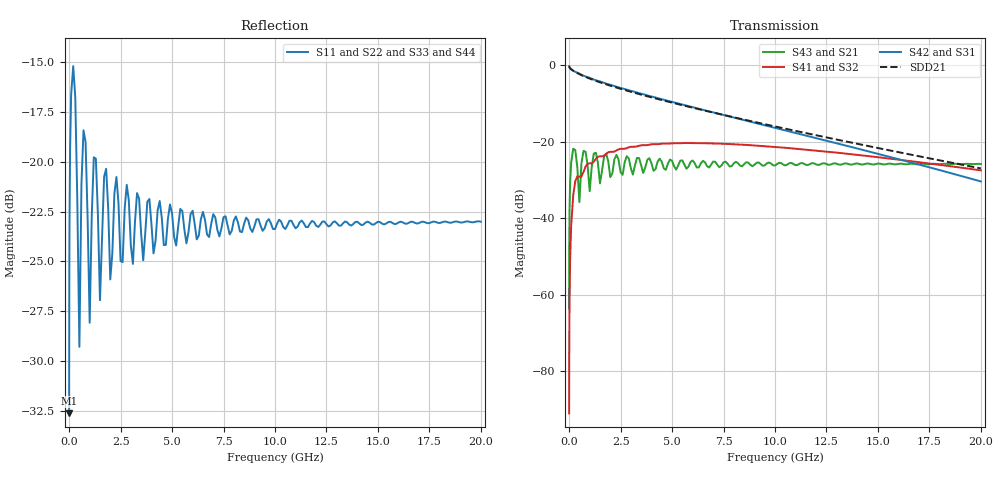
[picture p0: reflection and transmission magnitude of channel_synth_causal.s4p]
! Synthetic Process-Independent Passive Causal 4-Port Differential Channel
! Analytically generated from closed-form RLGC + sqrt(j*f) skin effect +
! Kramers-Kronig causal Djordjevic-Sarkar dielectric dispersion (L = 0.15 m,
! Z_diff = 100 ohm, Port 1/2 = INP/INN, Port 3/4 = OUTP/OUTN).
! Zero proprietary/vendor IP; verified passive (sigma_max <= 1.0) at all freqs.
# GHZ S RI R 50
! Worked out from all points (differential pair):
!   206 points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, 1 MHz to 20 GHz, reference 50 ohm
!   strongest paths, dB at 1 MHz, 4.6 GHz, 9.8 GHz, 14.9 GHz, 20 GHz:
!     S42: -0.2, -9.0, -16.0, -23.0, -30.3
!     S31: -0.2, -9.0, -16.0, -23.0, -30.3
!     S41: -91.0, -20.4, -21.2, -23.9, -27.4
!     S32: -91.0, -20.4, -21.2, -23.9, -27.4
!     S43: -63.6, -26.9, -25.6, -25.8, -25.8
!     S21: -63.6, -26.9, -25.6, -25.8, -25.8
!   taken as a pair (ports 2,1 in; 4,3 out), SDD21 dB: -0.2, -9.2, -15.7, -21.5, -26.9
!   lowest |S11| = -32.6 dB at 1 MHz (marker M1), VSWR 1.05, Z = 52.2 + j0.991 ohm
!   |S11| at or under -10 dB: start of sweep to end of sweep
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0.001  0.0214 0.00949  1.88e-05 0.00066  0.9785 -0.0157  2.6e-06 2.81e-05
       1.88e-05 0.00066  0.0214 0.00949  2.6e-06 2.81e-05  0.9785 -0.0157
       0.9785 -0.0157  2.6e-06 2.81e-05  0.0214 0.00949  1.88e-05 0.00066
       2.6e-06 2.81e-05  0.9785 -0.0157  1.88e-05 0.00066  0.0214 0.00949
0.05  0.0947 0.0533  0.0107 0.0273  0.8541 -0.338  -0.000579 0.00283
      0.0107 0.0273  0.0947 0.0533  -0.000579 0.00283  0.8541 -0.338
      0.8541 -0.338  -0.000579 0.00283  0.0947 0.0533  0.0107 0.0273
      -0.000579 0.00283  0.8541 -0.338  0.0107 0.0273  0.0947 0.0533
0.2  0.1707 -0.0332  0.0777 0.0245  0.1857 -0.8295  0.0184 0.00817
     0.0777 0.0245  0.1707 -0.0332  0.0184 0.00817  0.1857 -0.8295
     0.1857 -0.8295  0.0184 0.00817  0.1707 -0.0332  0.0777 0.0245
     0.0184 0.00817  0.1857 -0.8295  0.0777 0.0245  0.1707 -0.0332
0.7  0.1198 -0.0075  0.0739 0.0195  -0.1539 0.7175  -0.0406 5.18e-05
     0.0739 0.0195  0.1198 -0.0075  -0.0406 5.18e-05  -0.1539 0.7175
     -0.1539 0.7175  -0.0406 5.18e-05  0.1198 -0.0075  0.0739 0.0195
     -0.0406 5.18e-05  -0.1539 0.7175  0.0739 0.0195  0.1198 -0.0075
1.4  0.0622 -0.0394  0.0482 -0.0215  -0.5141 -0.3635  0.0211 -0.0604
     0.0482 -0.0215  0.0622 -0.0394  0.0211 -0.0604  -0.5141 -0.3635
     -0.5141 -0.3635  0.0211 -0.0604  0.0622 -0.0394  0.0482 -0.0215
     0.0211 -0.0604  -0.5141 -0.3635  0.0482 -0.0215  0.0622 -0.0394
2  0.0486 -0.0144  0.0337 -0.00784  0.5575 0.0522  0.014 0.0728
   0.0337 -0.00784  0.0486 -0.0144  0.014 0.0728  0.5575 0.0522
   0.5575 0.0522  0.014 0.0728  0.0486 -0.0144  0.0337 -0.00784
   0.014 0.0728  0.5575 0.0522  0.0337 -0.00784  0.0486 -0.0144
20  0.0707 0.00202  0.0515 0.000234  0.0304 -0.000524  0.0123 0.0407
    0.0515 0.000234  0.0707 0.00202  0.0123 0.0407  0.0304 -0.000524
    0.0304 -0.000524  0.0123 0.0407  0.0707 0.00202  0.0515 0.000234
    0.0123 0.0407  0.0304 -0.000524  0.0515 0.000234  0.0707 0.00202
